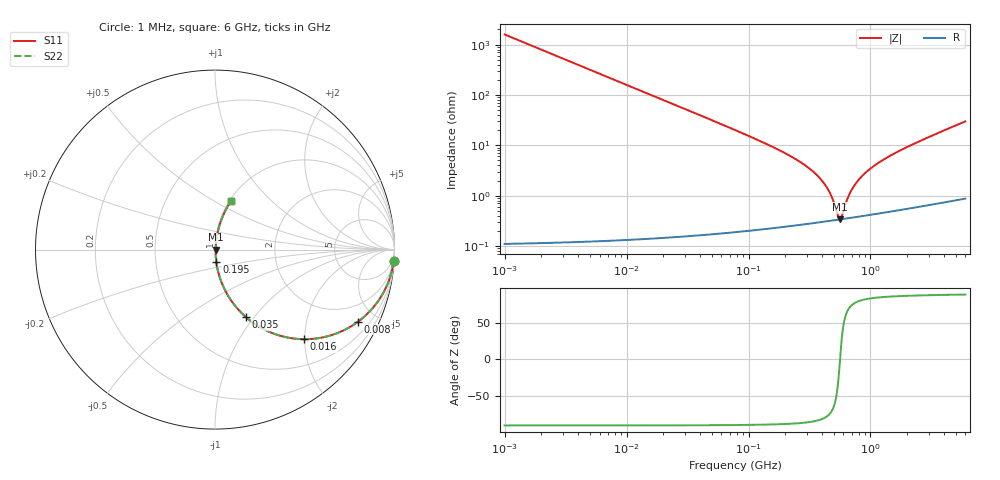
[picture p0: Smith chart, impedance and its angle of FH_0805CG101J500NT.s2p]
! FH 0805CG101J500NT 100 pF 0805 C0G (C10)
! FH publishes no RF data: typical 0805 C0G model, ESL=0.8 nH, ESR=0.10+0.10*sqrt(f/100MHz) ohm
! Generated by make_s2p.py - an estimate, not a measurement
! Series-thru 2-port: part connected between port 1 and port 2.
# Hz S RI R 50
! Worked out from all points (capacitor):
!   1500 points, 1 MHz to 6 GHz, reference 50 ohm
!   read as one part in series: C = 100 pF near 8 MHz
!   lowest |Z| = 337 mohm at 562 MHz (marker M1)
!   series resonance near 562.7 MHz, so ESL is about 800 pH
!   S11 on the Smith chart (normalised r, x): 1 MHz: 1, -32; 8 MHz: 1.00, -3.98; 16 MHz: 1.00, -1.99; 35 MHz: 1.00, -0.91; 195 MHz: 1.00, -0.14; 6 GHz: 1.02, +0.60
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1000000  0.9961 -0.0626  0.00394 0.0626  0.00394 0.0626  0.9961 -0.0626
3000000  0.9656 -0.182  0.0344 0.182  0.0344 0.182  0.9656 -0.182
5000000  0.9101 -0.2859  0.0899 0.2859  0.0899 0.2859  0.9101 -0.2859
8000000  0.7981 -0.4011  0.2019 0.4011  0.2019 0.4011  0.7981 -0.4011
1.1e7  0.6764 -0.4674  0.3236 0.4674  0.3236 0.4674  0.6764 -0.4674
1.6e7  0.497 -0.4993  0.503 0.4993  0.503 0.4993  0.497 -0.4993
1.9e7  0.4119 -0.4913  0.5881 0.4913  0.5881 0.4913  0.4119 -0.4913
3.5e7  0.1711 -0.3749  0.8289 0.3749  0.8289 0.3749  0.1711 -0.3749
7.8e7  0.0402 -0.1917  0.9598 0.1917  0.9598 0.1917  0.0402 -0.1917
1.95e8  0.00749 -0.0711  0.9925 0.0711  0.9925 0.0711  0.00749 -0.0711
3.31e8  0.00379 -0.0312  0.9962 0.0312  0.9962 0.0312  0.00379 -0.0312
3.93e8  0.0034 -0.0206  0.9966 0.0206  0.9966 0.0206  0.0034 -0.0206
4.48e8  0.00327 -0.0129  0.9967 0.0129  0.9967 0.0129  0.00327 -0.0129
4.88e8  0.00326 -0.00803  0.9967 0.00803  0.9967 0.00803  0.00326 -0.00803
5.45e8  0.00333 -0.0018  0.9967 0.0018  0.9967 0.0018  0.00333 -0.0018
5.62e8  0.00336 -6.97e-05  0.9966 6.97e-05  0.9966 6.97e-05  0.00336 -6.97e-05
5.79e8  0.0034 0.0016  0.9966 -0.0016  0.9966 -0.0016  0.0034 0.0016
6.66e8  0.00366 0.00951  0.9963 -0.00951  0.9963 -0.00951  0.00366 0.00951
7.75e8  0.0041 0.0183  0.9959 -0.0183  0.9959 -0.0183  0.0041 0.0183
1e9  0.00531 0.034  0.9947 -0.034  0.9947 -0.034  0.00531 0.034
1.41e9  0.00822 0.0588  0.9918 -0.0588  0.9918 -0.0588  0.00822 0.0588
6e9  0.0887 0.2701  0.9113 -0.2701  0.9113 -0.2701  0.0887 0.2701
